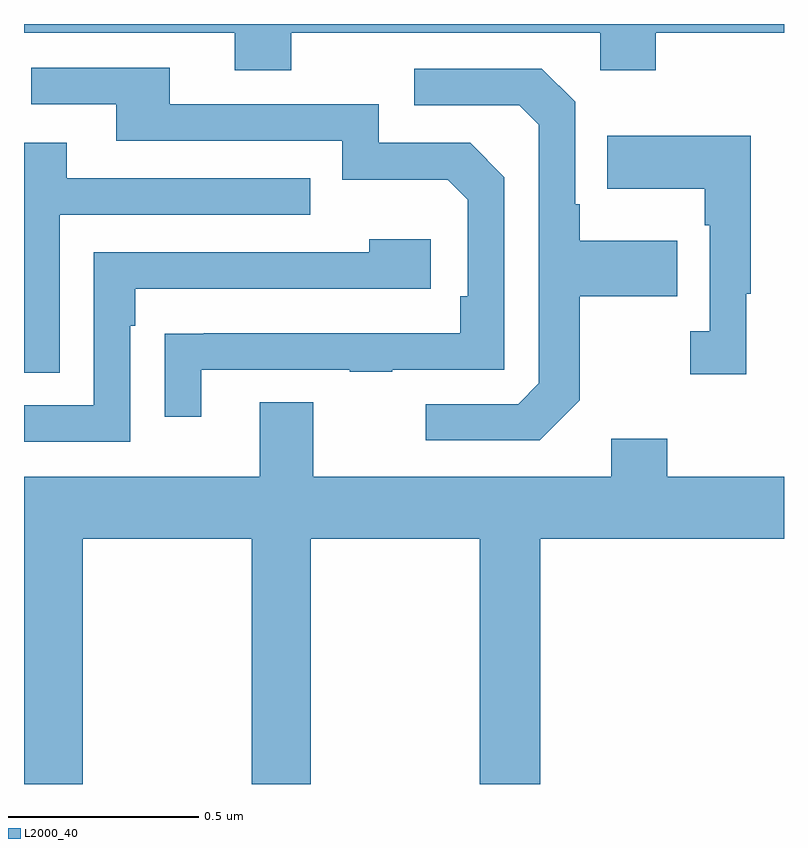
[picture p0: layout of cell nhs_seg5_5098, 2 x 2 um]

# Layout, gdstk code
import gdstk
lib = gdstk.Library(unit=1e-6, precision=1e-09)
def P(c, l, *ps):  # polygons
    for p in ps: c.add(gdstk.Polygon(p, *l))
L2000_40 = (2000, 40)

nhs_seg5_5098 = lib.new_cell('nhs_seg5_5098')
P(nhs_seg5_5098, L2000_40, [(179.703,840.776),(180.516,840.776),(180.516,840.677),(180.663,840.677),(180.663,840.776),(181,840.776),(181,840.799),(179,840.799),(179,840.776),(179.555,840.776),(179.555,840.677),(179.703,840.677)],
  [(179.467,839.889),(179.857,839.889),(179.857,839.884),(179.969,839.884),(179.969,839.889),(180.264,839.889),(180.264,840.396),(180.174,840.486),(179.934,840.486),(179.934,840.588),(179.383,840.588),(179.383,840.684),(179.019,840.684),(179.019,840.588),(179.243,840.588),(179.243,840.492),(179.838,840.492),(179.838,840.389),(180.115,840.389),(180.168,840.336),(180.168,840.082),(180.148,840.082),(180.148,839.985),(179.473,839.985),(179.473,839.984),(179.371,839.984),(179.371,839.766),(179.467,839.766)],
  [(180.463,839.809),(180.463,840.082),(180.719,840.082),(180.719,840.229),(180.463,840.229),(180.463,840.325),(180.45,840.325),(180.45,840.594),(180.363,840.681),(180.027,840.681),(180.027,840.585),(180.303,840.585),(180.354,840.534),(180.354,839.853),(180.3,839.799),(180.057,839.799),(180.057,839.703),(180.357,839.703)],
  [(180.901,840.089),(180.913,840.089),(180.913,840.505),(180.535,840.505),(180.535,840.365),(180.792,840.365),(180.792,840.269),(180.804,840.269),(180.804,839.99),(180.753,839.99),(180.753,839.877),(180.901,839.877)],
  [(179.094,840.297),(179.753,840.297),(179.753,840.393),(179.113,840.393),(179.113,840.487),(179,840.487),(179,839.881),(179.094,839.881)],
  [(179.28,840.005),(179.293,840.005),(179.293,840.102),(180.07,840.102),(180.07,840.232),(179.909,840.232),(179.909,840.198),(179.184,840.198),(179.184,839.796),(179,839.796),(179,839.7),(179.28,839.7)],
  [(179.154,839.444),(179.599,839.444),(179.599,838.799),(179.754,838.799),(179.754,839.444),(180.199,839.444),(180.199,838.799),(180.359,838.799),(180.359,839.444),(181,839.444),(181,839.608),(180.693,839.608),(180.693,839.707),(180.545,839.707),(180.545,839.608),(179.761,839.608),(179.761,839.803),(179.621,839.803),(179.621,839.608),(179,839.608),(179,838.799),(179.154,838.799)])

lib.write_gds('nhs_seg5_5098.gds')
